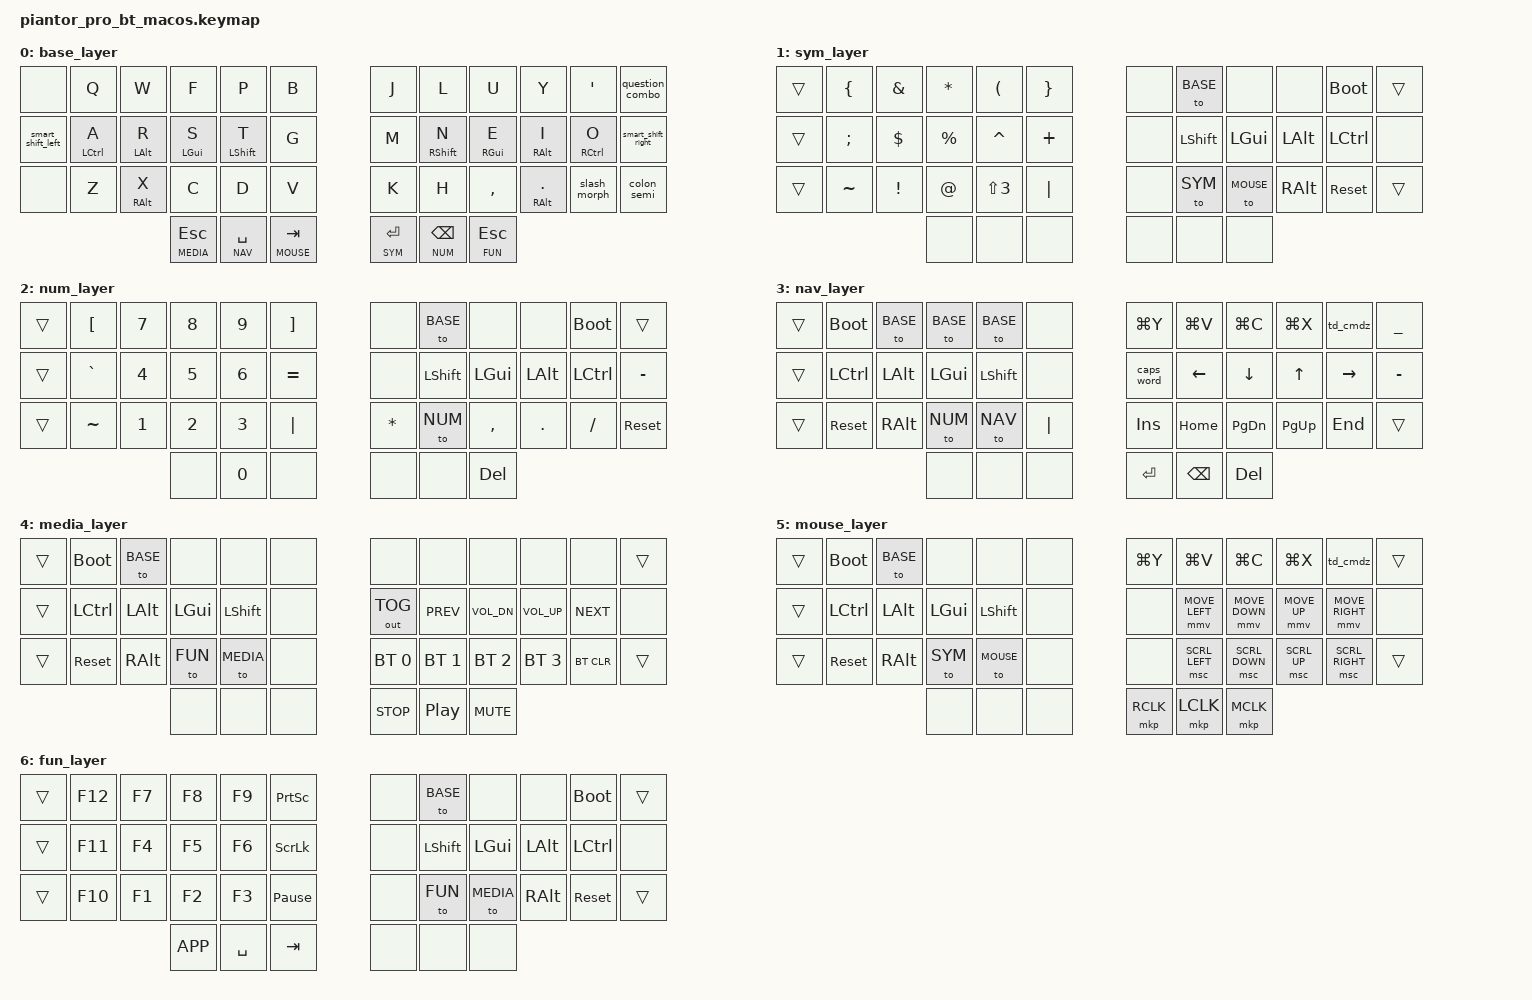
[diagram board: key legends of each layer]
/*
 * Copyright (c) 2025 Will Napier
 *
 * SPDX-License-Identifier: MIT
 *
 * macOS-SPECIFIC KEYMAP
 * This keymap uses Cmd (LGUI) instead of Ctrl for edit commands
 * Identical to piantor_pro_bt.keymap except for NAV and MOUSE layers
 */

#include <behaviors.dtsi>
#include <dt-bindings/zmk/keys.h>
#include <dt-bindings/zmk/bt.h>
#include <dt-bindings/zmk/outputs.h>
#include <dt-bindings/zmk/pointing.h>

// Set maximum mouse velocity
#define ZMK_POINTING_DEFAULT_MOVE_VAL 1200

// Layer definitions
#define BASE 0
#define SYM 1
#define NUM 2
#define NAV 3
#define MEDIA 4
#define MOUSE 5
#define FUN 6

// Miryoku timeless HRM settings
#define QUICK_TAP_MS 175

&mt {
    flavor = "balanced";
    tapping-term-ms = <280>;
    quick-tap-ms = <QUICK_TAP_MS>;
    require-prior-idle-ms = <150>;
    hold-trigger-on-release;
};

/ {
    behaviors {
        // macOS-SPECIFIC: Cmd+Z for undo (instead of Ctrl+Z)
        td_cmdz: tap_dance {
            compatible = "zmk,behavior-tap-dance";
            #binding-cells = <0>;
            tapping-term-ms = <200>;
            bindings = <&none>, <&kp LG(Z)>;  // LG = Left GUI (Cmd on macOS)
        };

        // Smart shift with parentheses on shift - urob-inspired simplified version
        smart_shift_left: smart_shift_left_morph {
            compatible = "zmk,behavior-mod-morph";
            #binding-cells = <0>;
            bindings = <&sk LSHFT>, <&kp LPAR>;  // Normal = sticky shift, Shift = (
            mods = <(MOD_LSFT|MOD_RSFT)>;
        };

        smart_shift_right: smart_shift_right_morph {
            compatible = "zmk,behavior-mod-morph";
            #binding-cells = <0>;
            bindings = <&sk LSHFT>, <&kp RPAR>;  // Normal = sticky shift, Shift = )
            mods = <(MOD_LSFT|MOD_RSFT)>;
        };

        // Forward slash / backslash on same key
        slash_morph: slash_behavior {
            compatible = "zmk,behavior-mod-morph";
            #binding-cells = <0>;
            bindings = <&kp FSLH>, <&kp BSLH>;
            mods = <(MOD_LSFT|MOD_RSFT)>;
        };

        // Question mark / exclamation on same key
        question_combo: question_combo_morph {
            compatible = "zmk,behavior-mod-morph";
            #binding-cells = <0>;
            bindings = <&kp QUESTION>, <&kp EXCLAMATION>;   // Normal = ? vs Shift = !
            mods = <(MOD_LSFT|MOD_RSFT)>;
        };

        // Colon / semicolon on same key
        colon_semi: colon_semi_morph {
            compatible = "zmk,behavior-mod-morph";
            #binding-cells = <0>;
            bindings = <&kp COLON>, <&kp SEMI>;   // Normal = : vs Shift = ;
            mods = <(MOD_LSFT|MOD_RSFT)>;
        };

        // Symbol combo behaviors with shift variants
        bracket_left: bracket_left_morph {
            compatible = "zmk,behavior-mod-morph";
            #binding-cells = <0>;
            bindings = <&kp LBKT>, <&kp LBRC>;   // [ normal, { shifted
            mods = <(MOD_LSFT|MOD_RSFT)>;
        };

        bracket_right: bracket_right_morph {
            compatible = "zmk,behavior-mod-morph";
            #binding-cells = <0>;
            bindings = <&kp RBKT>, <&kp RBRC>;   // ] normal, } shifted
            mods = <(MOD_LSFT|MOD_RSFT)>;
        };

        quote: quote_morph {
            compatible = "zmk,behavior-mod-morph";
            #binding-cells = <0>;
            bindings = <&kp SQT>, <&kp DQT>;   // ' normal, " shifted
            mods = <(MOD_LSFT|MOD_RSFT)>;
        };
    };


    combos {
        compatible = "zmk,combos";

        // L + U = : (colon) / ; (semicolon when shifted)
        combo_colon {
            timeout-ms = <50>;
            key-positions = <7 8>;
            bindings = <&colon_semi>;
            layers = <BASE>;
        };

        // U + Y = - (minus/hyphen)
        combo_minus {
            timeout-ms = <50>;
            key-positions = <8 9>;
            bindings = <&kp MINUS>;
            layers = <BASE>;
        };

        // , + . = ? (question mark)
        combo_question {
            timeout-ms = <50>;
            key-positions = <32 33>;
            bindings = <&kp QUESTION>;
            layers = <BASE>;
        };

        // Safety combo: prevent accidental Cmd+Z when brushing A while pressing Z
        combo_az_null {
            timeout-ms = <50>;
            require-prior-idle-ms = <50>;
            key-positions = <13 25>;  // A + Z
            bindings = <&none>;
            layers = <BASE>;
        };

        // Symbol combos
        combo_bracket_left {
            timeout-ms = <50>;
            require-prior-idle-ms = <150>;
            key-positions = <2 3>;  // W + F
            bindings = <&bracket_left>;
            layers = <BASE>;
        };

        combo_bracket_right {
            timeout-ms = <50>;
            require-prior-idle-ms = <150>;
            key-positions = <3 4>;  // F + P
            bindings = <&bracket_right>;
            layers = <BASE>;
        };

        combo_at {
            timeout-ms = <50>;
            require-prior-idle-ms = <150>;
            key-positions = <25 26>;  // X + C
            bindings = <&kp AT>;
            layers = <BASE>;
        };

        combo_pipe {
            timeout-ms = <50>;
            require-prior-idle-ms = <150>;
            key-positions = <26 27>;  // C + D
            bindings = <&kp PIPE>;
            layers = <BASE>;
        };

        combo_plus {
            timeout-ms = <50>;
            require-prior-idle-ms = <150>;
            key-positions = <31 32>;  // H + ,
            bindings = <&kp PLUS>;
            layers = <BASE>;
        };

        combo_exclaim {
            timeout-ms = <50>;
            require-prior-idle-ms = <150>;
            key-positions = <33 34>;  // . + /
            bindings = <&kp EXCLAMATION>;
            layers = <BASE>;
        };

        // Left half bootloader: hold top-left corner (Q+W+F)
        // Longer timeout + slow-release = press all 3, hold, then release together
        combo_bootloader_left {
            timeout-ms = <300>;
            slow-release;
            key-positions = <1 2 3>;
            bindings = <&bootloader>;
        };

        // Right half bootloader: hold top-right corner (U+Y+')
        // Longer timeout + slow-release = press all 3, hold, then release together
        combo_bootloader_right {
            timeout-ms = <300>;
            slow-release;
            key-positions = <8 9 10>;
            bindings = <&bootloader>;
        };
    };
};

// Configure acceleration behavior (Urob-style)
&mmv {
    acceleration-exponent = <1>;
    time-to-max-speed-ms = <60>;
    delay-ms = <0>;
};

/ {
    chosen {
        zmk,physical-layout = &default_layout;
    };

    keymap {
        compatible = "zmk,keymap";

        base_layer {
            bindings = <
                &none           &kp Q           &kp W           &kp F           &kp P           &kp B           &kp J           &kp L           &kp U           &kp Y           &kp SQT         &question_combo
                &smart_shift_left &mt LCTRL A   &mt LALT R      &mt LGUI S      &mt LSHFT T     &kp G           &kp M           &mt RSHFT N     &mt RGUI E      &mt RALT I      &mt RCTRL O     &smart_shift_right
                &none           &kp Z           &mt RALT X      &kp C           &kp D           &kp V           &kp K           &kp H           &kp COMMA       &mt RALT DOT    &slash_morph    &colon_semi
                                                        &lt MEDIA ESC           &lt NAV SPACE   &lt MOUSE TAB   &lt SYM RET     &lt NUM BSPC    &lt FUN ESC
            >;
        };

        sym_layer {
            bindings = <
                &trans          &kp LBRC        &kp AMPS        &kp ASTRK       &kp LPAR        &kp RBRC        &none           &to BASE        &none           &none           &bootloader     &trans
                &trans          &kp SEMI        &kp DLLR        &kp PRCNT       &kp CARET       &kp PLUS        &none           &kp LSHFT       &kp LGUI        &kp LALT        &kp LCTRL       &none
                &trans          &kp TILDE       &kp EXCL        &kp AT          &kp LS(N3)      &kp PIPE        &none           &to SYM         &to MOUSE       &kp RALT        &sys_reset      &trans
                                                &none           &none           &none           &none           &none           &none
            >;
        };

        num_layer {
            bindings = <
                &trans          &kp LBKT        &kp N7          &kp N8          &kp N9          &kp RBKT        &none           &to BASE        &none           &none           &bootloader     &trans
                &trans          &kp GRAVE       &kp N4          &kp N5          &kp N6          &kp EQUAL       &none           &kp LSHFT       &kp LGUI        &kp LALT        &kp LCTRL       &kp MINUS
                &trans          &kp TILDE       &kp N1          &kp N2          &kp N3          &kp PIPE           &kp STAR        &to NUM         &kp COMMA       &kp DOT         &kp FSLH        &sys_reset
                                                &none           &kp N0          &none           &none           &none           &kp DEL
            >;
        };

        nav_layer {
            bindings = <
                // macOS-SPECIFIC: Using LG (Cmd) instead of LC (Ctrl)
                &trans          &bootloader     &to BASE        &to BASE        &to BASE        &none           &kp LG(Y)       &kp LG(V)       &kp LG(C)       &kp LG(X)       &td_cmdz        &kp UNDER
                &trans          &kp LCTRL       &kp LALT        &kp LGUI        &kp LSHFT       &none           &caps_word      &kp LEFT        &kp DOWN        &kp UP          &kp RIGHT       &kp MINUS
                &trans          &sys_reset      &kp RALT        &to NUM         &to NAV         &kp PIPE        &kp INS         &kp HOME        &kp PG_DN       &kp PG_UP       &kp END         &trans
                                                &none           &none           &none           &kp RET         &kp BSPC        &kp DEL
             >;
        };

        media_layer {
            bindings = <
                &trans          &bootloader     &to BASE        &none           &none           &none           &none           &none           &none           &none           &none           &trans
                &trans          &kp LCTRL       &kp LALT        &kp LGUI        &kp LSHFT       &none           &out OUT_TOG    &kp C_PREV      &kp C_VOL_DN    &kp C_VOL_UP    &kp C_NEXT      &none
                &trans          &sys_reset      &kp RALT        &to FUN         &to MEDIA       &none           &bt BT_SEL 0    &bt BT_SEL 1    &bt BT_SEL 2    &bt BT_SEL 3    &bt BT_CLR      &trans
                                                &none           &none           &none           &kp C_STOP      &kp C_PP        &kp C_MUTE
            >;
        };

        mouse_layer {
            bindings = <
                // macOS-SPECIFIC: Using LG (Cmd) instead of LC (Ctrl)
                &trans          &bootloader     &to BASE        &none           &none           &none           &kp LG(Y)       &kp LG(V)       &kp LG(C)       &kp LG(X)       &td_cmdz        &trans
                &trans          &kp LCTRL       &kp LALT        &kp LGUI        &kp LSHFT       &none           &none           &mmv MOVE_LEFT  &mmv MOVE_DOWN  &mmv MOVE_UP    &mmv MOVE_RIGHT &none
                &trans          &sys_reset      &kp RALT        &to SYM         &to MOUSE       &none           &none           &msc SCRL_LEFT  &msc SCRL_DOWN  &msc SCRL_UP    &msc SCRL_RIGHT &trans
                                                &none           &none           &none           &mkp RCLK       &mkp LCLK       &mkp MCLK
            >;
        };

        fun_layer {
            bindings = <
                &trans          &kp F12         &kp F7          &kp F8          &kp F9          &kp PSCRN       &none           &to BASE        &none           &none           &bootloader     &trans
                &trans          &kp F11         &kp F4          &kp F5          &kp F6          &kp SLCK        &none           &kp LSHFT       &kp LGUI        &kp LALT        &kp LCTRL       &none
                &trans          &kp F10         &kp F1          &kp F2          &kp F3          &kp PAUSE_BREAK &none           &to FUN         &to MEDIA       &kp RALT        &sys_reset      &trans
                                                &kp K_APP       &kp SPACE       &kp TAB         &none           &none           &none
            >;
        };

    };
};
